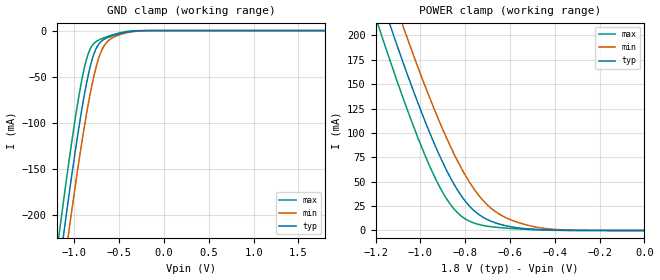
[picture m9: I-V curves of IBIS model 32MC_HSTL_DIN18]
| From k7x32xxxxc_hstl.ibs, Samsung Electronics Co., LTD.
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|   Model 32MC_HSTL_DIN18
[Model]   32MC_HSTL_DIN18
Model_type   Input
Polarity   Non-Inverting
Vinl = 0.7000V
Vinh = 1.1000V
C_comp   0.8590pF   0.8410pF   0.8720pF
[Model Spec]
|   Typ   Min   Max
Vinl 0.70   0.65   0.75 |VREF - 0.2V AC spec for timing simulation
Vinh 1.10   1.05   1.15 |VREF + 0.2V AC spec for timing simulation
|[Model Spec]
|   Typ   Min   Max
|Vinl 0.80   0.75   0.85 |VREF - 0.1V DC spec for noise measurement
|Vinh 1.00   0.95   1.05 |VREF + 0.1V DC spec for noise measurement
[Temperature Range]   55.0000   0.1100k   0.000
[Voltage Range]   1.8000V   1.7000V   1.9000V
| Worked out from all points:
|   GND clamp passes 1 mA (typ) near -0.38 V on its own axis
|   POWER clamp passes 1 mA (typ) near -0.47 V on its own axis
[GND_clamp]
| voltage   I(typ)   I(min/slow/weak)   I(max/fast/strong)
-1.8V     -752.4mA   -787mA     -719.7mA
-1.171V   -257.8mA   -296.3mA   -220.7mA
-1.128V   -226.3mA   -264.8mA   -189.2mA
-1.107V   -211.1mA   -249.6mA   -174mA
-1.066V   -181.9mA   -220.4mA   -145.1mA
-970mV    -117.3mA   -154.8mA   -82.45mA
-900mV    -75.38mA   -110.6mA   -45.01mA
-834mV    -43.05mA   -73.43mA   -22.04mA
-744mV    -17.03mA   -34.53mA   -11.03mA
-614mV    -6.926mA   -10.29mA   -5.892mA
-342mV    -623.3uA   -1.089mA   -287.3uA
1.8V      211.5nA    3.564uA    15nA
[POWER_clamp]
| voltage   I(typ)   I(min/slow/weak)   I(max/fast/strong)
-1.8V     703.3mA    736.2mA    671.9mA
-1.186V   245.2mA    282.1mA    208.9mA
-1.125V   203.7mA    240.8mA    167.2mA
-1.068V   166.3mA    203.4mA    129.9mA
-961mV    101.7mA    137.6mA    67.31mA
-912mV    75.62mA    110mA      43.88mA
-865mV    53.72mA    85.8mA     26.38mA
-778mV    24.27mA    48.5mA     9.249mA
-687mV    9.748mA    23.31mA    3.938mA
-596mV    3.825mA    10.91mA    2.045mA
-455mV    846.1uA    2.416mA    438.3uA
0V        211.5nA    954nA      17.71nA
